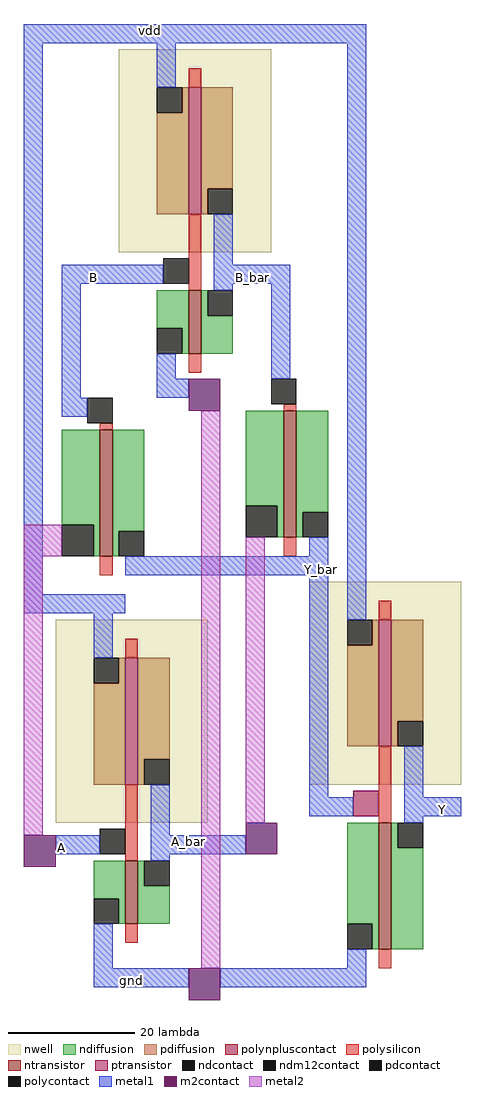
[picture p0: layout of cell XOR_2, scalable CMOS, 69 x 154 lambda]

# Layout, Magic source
magic
tech scmos
<< nwell >>
rect -1 53 23 85
rect -11 -37 13 -5
rect 29 -31 53 1
<< ntransistor >>
rect 10 37 12 47
rect -4 5 -2 25
rect 25 8 27 28
rect 0 -53 2 -43
rect 40 -57 42 -37
<< ptransistor >>
rect 10 59 12 79
rect 0 -31 2 -11
rect 40 -25 42 -5
<< ndiffusion >>
rect 5 41 10 47
rect 9 37 10 41
rect 12 43 13 47
rect 12 37 17 43
rect -10 10 -4 25
rect -5 5 -4 10
rect -2 9 3 25
rect -2 5 -1 9
rect 19 13 25 28
rect 24 8 25 13
rect 27 12 32 28
rect 27 8 28 12
rect -5 -49 0 -43
rect -1 -53 0 -49
rect 2 -47 3 -43
rect 2 -53 7 -47
rect 35 -53 40 -37
rect 39 -57 40 -53
rect 42 -41 43 -37
rect 42 -57 47 -41
<< pdiffusion >>
rect 9 75 10 79
rect 5 59 10 75
rect 12 63 17 79
rect 12 59 13 63
rect 39 -9 40 -5
rect -1 -15 0 -11
rect -5 -31 0 -15
rect 2 -27 7 -11
rect 35 -25 40 -9
rect 42 -21 47 -5
rect 42 -25 43 -21
rect 2 -31 3 -27
<< ndcontact >>
rect 5 37 9 41
rect 13 43 17 47
rect -1 5 3 9
rect 28 8 32 12
rect -5 -53 -1 -49
rect 3 -47 7 -43
rect 35 -57 39 -53
rect 43 -41 47 -37
<< pdcontact >>
rect 5 75 9 79
rect 13 59 17 63
rect 35 -9 39 -5
rect -5 -15 -1 -11
rect 43 -25 47 -21
rect 3 -31 7 -27
<< polysilicon >>
rect 10 79 12 82
rect 10 47 12 59
rect 10 34 12 37
rect 25 28 27 29
rect -4 25 -2 26
rect 25 5 27 8
rect -4 2 -2 5
rect 40 -5 42 -2
rect 0 -11 2 -8
rect 0 -43 2 -31
rect 40 -37 42 -25
rect 0 -56 2 -53
rect 40 -60 42 -57
<< polycontact >>
rect 6 48 10 52
rect -6 26 -2 30
rect 23 29 27 33
rect -4 -42 0 -38
<< polynpluscontact >>
rect 36 -36 40 -32
<< metal1 >>
rect -16 86 38 89
rect -16 -1 -13 86
rect 5 79 8 86
rect -10 48 6 51
rect 14 51 17 59
rect 14 48 26 51
rect -10 30 -7 48
rect 14 47 17 48
rect 5 33 8 37
rect 23 33 26 48
rect 5 30 10 33
rect -10 27 -6 30
rect 29 5 32 8
rect 0 2 32 5
rect -16 -4 0 -1
rect -5 -11 -2 -4
rect -11 -42 -4 -39
rect 4 -39 7 -31
rect 29 -33 32 2
rect 35 -5 38 86
rect 29 -36 36 -33
rect 44 -33 47 -25
rect 44 -36 53 -33
rect 44 -37 47 -36
rect 4 -42 19 -39
rect 4 -43 7 -42
rect -5 -60 -2 -53
rect 35 -60 38 -57
rect -5 -63 10 -60
rect 15 -63 38 -60
<< m2contact >>
rect 10 28 15 33
rect -16 -44 -11 -39
rect 19 -42 24 -37
rect 10 -65 15 -60
<< ndm12contact >>
rect -10 5 -5 10
rect 19 8 24 13
<< metal2 >>
rect -16 5 -10 10
rect -16 -39 -13 5
rect 12 -60 15 28
rect 19 -37 22 8
<< labels >>
rlabel metal1 10 -40 10 -40 1 A_bar
rlabel metal1 4 88 4 88 4 vdd
rlabel metal1 -5 49 -5 49 1 B
rlabel metal1 20 49 20 49 7 B_bar
rlabel metal1 31 3 31 3 7 Y_bar
rlabel metal1 50 -35 50 -35 7 Y
rlabel metal1 1 -62 1 -62 1 gnd
rlabel metal1 -10 -41 -10 -41 1 A
<< end >>
